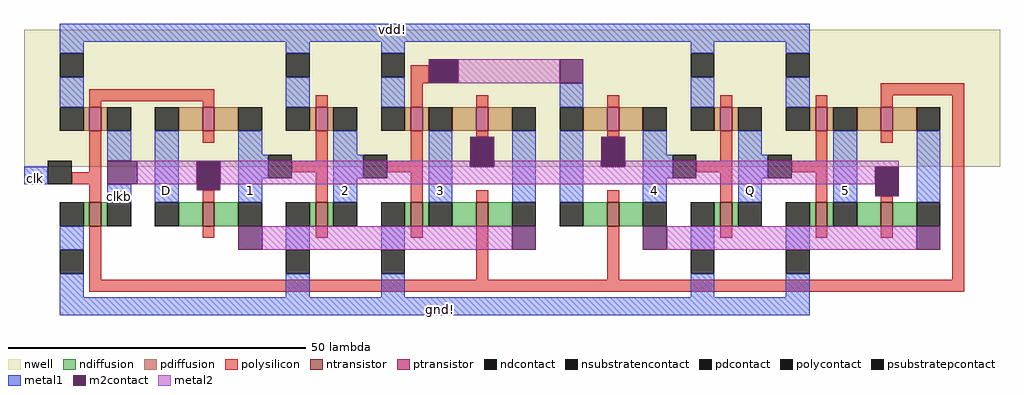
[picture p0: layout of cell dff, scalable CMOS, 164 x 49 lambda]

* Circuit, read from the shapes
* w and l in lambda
.subckt dff 1 2 3 4 5 D Q clk clkb gnd! vdd!
M1 clkb clk gnd! gnd! nfet w=4 l=2
M2 1 clkb D gnd! nfet w=4 l=2
M3 2 1 gnd! gnd! nfet w=4 l=2
M4 3 2 gnd! gnd! nfet w=4 l=2
M5 1 clk 3 gnd! nfet w=4 l=2
M6 4 clk 2 gnd! nfet w=4 l=2
M7 Q 4 gnd! gnd! nfet w=4 l=2
M8 5 Q gnd! gnd! nfet w=4 l=2
M9 4 clkb 5 gnd! nfet w=4 l=2
M10 clkb clk vdd! vdd! pfet w=4 l=2
M11 1 clk D vdd! pfet w=4 l=2
M12 2 1 vdd! vdd! pfet w=4 l=2
M13 3 2 vdd! vdd! pfet w=4 l=2
M14 1 clkb 3 vdd! pfet w=4 l=2
M15 4 clkb 2 vdd! pfet w=4 l=2
M16 Q 4 vdd! vdd! pfet w=4 l=2
M17 5 Q vdd! vdd! pfet w=4 l=2
M18 4 clk 5 vdd! pfet w=4 l=2
.ends

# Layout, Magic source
magic
tech scmos
<< nwell >>
rect -19 -6 145 17
<< ntransistor >>
rect -8 -16 -6 -12
rect 11 -16 13 -12
rect 30 -16 32 -12
rect 46 -16 48 -12
rect 57 -16 59 -12
rect 79 -16 81 -12
rect 98 -16 100 -12
rect 114 -16 116 -12
rect 125 -16 127 -12
<< ptransistor >>
rect -8 0 -6 4
rect 11 0 13 4
rect 30 0 32 4
rect 46 0 48 4
rect 57 0 59 4
rect 79 0 81 4
rect 98 0 100 4
rect 114 0 116 4
rect 125 0 127 4
<< ndiffusion >>
rect -9 -16 -8 -12
rect -6 -16 -5 -12
rect 7 -16 11 -12
rect 13 -16 17 -12
rect 29 -16 30 -12
rect 32 -16 33 -12
rect 45 -16 46 -12
rect 48 -16 49 -12
rect 53 -16 57 -12
rect 59 -16 63 -12
rect 75 -16 79 -12
rect 81 -16 85 -12
rect 97 -16 98 -12
rect 100 -16 101 -12
rect 113 -16 114 -12
rect 116 -16 117 -12
rect 121 -16 125 -12
rect 127 -16 131 -12
<< pdiffusion >>
rect -9 0 -8 4
rect -6 0 -5 4
rect 7 0 11 4
rect 13 0 17 4
rect 29 0 30 4
rect 32 0 33 4
rect 45 0 46 4
rect 48 0 49 4
rect 53 0 57 4
rect 59 0 63 4
rect 75 0 79 4
rect 81 0 85 4
rect 97 0 98 4
rect 100 0 101 4
rect 113 0 114 4
rect 116 0 117 4
rect 121 0 125 4
rect 127 0 131 4
<< ndcontact >>
rect -13 -16 -9 -12
rect -5 -16 -1 -12
rect 3 -16 7 -12
rect 17 -16 21 -12
rect 25 -16 29 -12
rect 33 -16 37 -12
rect 41 -16 45 -12
rect 49 -16 53 -12
rect 63 -16 67 -12
rect 71 -16 75 -12
rect 85 -16 89 -12
rect 93 -16 97 -12
rect 101 -16 105 -12
rect 109 -16 113 -12
rect 117 -16 121 -12
rect 131 -16 135 -12
<< pdcontact >>
rect -13 0 -9 4
rect -5 0 -1 4
rect 3 0 7 4
rect 17 0 21 4
rect 25 0 29 4
rect 33 0 37 4
rect 41 0 45 4
rect 49 0 53 4
rect 63 0 67 4
rect 71 0 75 4
rect 85 0 89 4
rect 93 0 97 4
rect 101 0 105 4
rect 109 0 113 4
rect 117 0 121 4
rect 131 0 135 4
<< psubstratepcontact >>
rect -13 -24 -9 -20
rect 25 -24 29 -20
rect 41 -24 45 -20
rect 93 -24 97 -20
rect 109 -24 113 -20
<< nsubstratencontact >>
rect -13 9 -9 13
rect 25 9 29 13
rect 41 9 45 13
rect 93 9 97 13
rect 109 9 113 13
<< polysilicon >>
rect 46 8 49 11
rect -8 5 13 7
rect -8 4 -6 5
rect 11 4 13 5
rect 30 4 32 6
rect 46 4 48 8
rect 125 6 139 8
rect 57 4 59 6
rect 79 4 81 6
rect 98 4 100 6
rect 114 4 116 6
rect 125 4 127 6
rect -8 -7 -6 0
rect 11 -2 13 0
rect -11 -9 -6 -7
rect -8 -12 -6 -9
rect 30 -5 32 0
rect 26 -7 32 -5
rect 11 -12 13 -10
rect 30 -12 32 -7
rect 46 -5 48 0
rect 57 -1 59 0
rect 79 -1 81 0
rect 42 -7 48 -5
rect 46 -12 48 -7
rect 98 -5 100 0
rect 94 -7 100 -5
rect 57 -12 59 -10
rect 79 -12 81 -10
rect 98 -12 100 -7
rect 114 -5 116 0
rect 125 -2 127 0
rect 110 -7 116 -5
rect 114 -12 116 -7
rect 125 -12 127 -11
rect -8 -25 -6 -16
rect 11 -18 13 -16
rect 30 -18 32 -16
rect 46 -18 48 -16
rect 57 -25 59 -16
rect 79 -25 81 -16
rect 98 -18 100 -16
rect 114 -18 116 -16
rect 125 -18 127 -16
rect 137 -25 139 6
rect -8 -27 139 -25
<< polycontact >>
rect 49 8 54 12
rect -15 -9 -11 -5
rect 10 -10 14 -5
rect 22 -8 26 -4
rect 38 -8 42 -4
rect 56 -6 60 -1
rect 78 -6 82 -1
rect 90 -8 94 -4
rect 106 -8 110 -4
rect 124 -11 128 -6
<< metal1 >>
rect -13 15 113 18
rect -13 13 -9 15
rect -13 4 -9 9
rect 25 13 29 15
rect 25 4 29 9
rect 41 13 45 15
rect 93 13 97 15
rect 41 4 45 9
rect 71 4 75 8
rect 93 4 97 9
rect 109 13 113 15
rect 109 4 113 9
rect -5 -5 -1 0
rect -19 -9 -15 -6
rect -5 -12 -1 -9
rect 3 -12 7 0
rect 17 -4 21 0
rect 33 -4 37 0
rect 17 -8 22 -4
rect 33 -8 38 -4
rect 17 -12 21 -8
rect 33 -12 37 -8
rect 49 -12 53 0
rect -13 -20 -9 -16
rect 63 -12 67 0
rect 71 -12 75 0
rect 85 -4 89 0
rect 101 -4 105 0
rect 85 -8 90 -4
rect 101 -8 106 -4
rect 85 -12 89 -8
rect 101 -12 105 -8
rect 117 -12 121 0
rect 25 -20 29 -16
rect -13 -28 -9 -24
rect 25 -28 29 -24
rect 41 -20 45 -16
rect 131 -12 135 0
rect 93 -20 97 -16
rect 41 -28 45 -24
rect 93 -28 97 -24
rect 109 -20 113 -16
rect 109 -28 113 -24
rect -13 -31 113 -28
<< m2contact >>
rect 49 8 54 12
rect 71 8 75 12
rect -5 -9 0 -5
rect 10 -10 14 -5
rect 56 -6 60 -1
rect 17 -20 21 -16
rect 78 -6 82 -1
rect 124 -11 128 -6
rect 63 -20 67 -16
rect 85 -20 89 -16
rect 131 -20 135 -16
<< metal2 >>
rect 54 8 71 12
rect 0 -9 10 -5
rect 14 -6 56 -5
rect 60 -6 78 -5
rect 82 -6 128 -5
rect 14 -9 124 -6
rect 21 -20 63 -16
rect 89 -20 131 -16
<< labels >>
rlabel metal1 -17 -8 -17 -8 3 clk
rlabel metal1 -3 -11 -3 -11 1 clkb
rlabel metal1 5 -10 5 -10 1 D
rlabel metal1 19 -10 19 -10 1 1
rlabel metal1 35 -10 35 -10 1 2
rlabel metal1 51 -10 51 -10 1 3
rlabel metal1 87 -10 87 -10 1 4
rlabel metal1 103 -10 103 -10 1 Q
rlabel metal1 119 -10 119 -10 1 5
rlabel metal1 51 -30 51 -30 1 gnd!
rlabel metal1 43 17 43 17 5 vdd!
<< end >>
